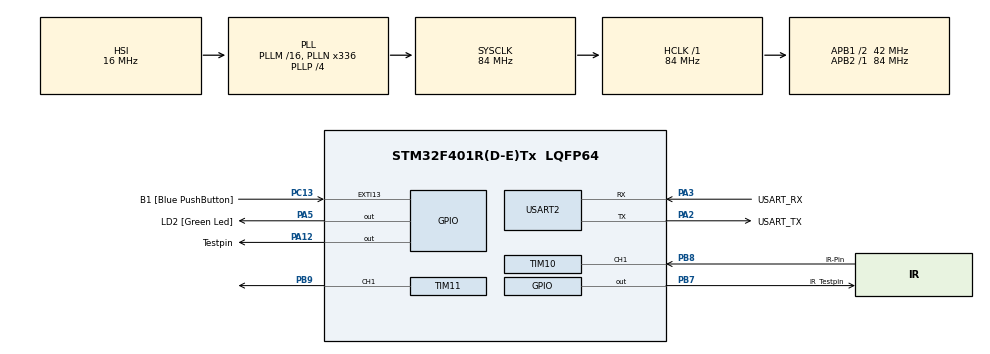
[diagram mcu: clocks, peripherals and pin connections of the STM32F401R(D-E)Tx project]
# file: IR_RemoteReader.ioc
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Mcu.Family=STM32F4
PA2.GPIO_PuPd=GPIO_NOPULL
RCC.CortexFreq_Value=84000000
PA14.GPIO_Label=TCK
PA3.GPIO_PuPd=GPIO_NOPULL
PA2.GPIO_Speed=GPIO_SPEED_FREQ_LOW
PA3.GPIO_Speed=GPIO_SPEED_FREQ_LOW
RCC.SYSCLKSource=RCC_SYSCLKSOURCE_PLLCLK
ProjectManager.StackSize=0x400
VP_TIM1_VS_no_output1.Mode=Output Compare1 No Output
PA12.Signal=GPIO_Output
TIM1.Prescaler=84-1
PH0\ -\ OSC_IN.Signal=RCC_OSC_IN
RCC.HCLKFreq_Value=84000000
RCC.APB2TimFreq_Value=84000000
VP_TIM10_VS_ClockSourceINT.Mode=Enable_Timer
RCC.AHBFreq_Value=84000000
NVIC.EXTI15_10_IRQn=true\:0\:0\:false\:false\:true\:true\:true
TIM10.AutoReloadPreload=TIM_AUTORELOAD_PRELOAD_ENABLE
RCC.HSE_VALUE=8000000
PC13-ANTI_TAMP.Signal=GPXTI13
TIM10.Channel=TIM_CHANNEL_1
PC14-OSC32_IN.Mode=LSE-External-Oscillator
PA14.Mode=Serial_Wire
PA5.GPIO_PuPd=GPIO_NOPULL
PB7.Signal=GPIO_Output
VP_TIM1_VS_ClockSourceINT.Mode=Internal
PB7.GPIO_Label=IR_Testpin
TIM11.ClockDivision=TIM_CLOCKDIVISION_DIV1
PB9.Signal=S_TIM11_CH1
Mcu.Package=LQFP64
TIM1.Pulse-Output\ Compare1\ No\ Output=10000
USART2.VirtualMode=VM_ASYNC
SH.S_TIM10_CH1.0=TIM10_CH1,Input_Capture1_from_TI1
PA2.GPIO_Label=USART_TX
RCC.APB1TimFreq_Value=84000000
SH.S_TIM11_CH1.0=TIM11_CH1,PWM Generation1 CH1
PA3.Signal=USART2_RX
PA2.GPIO_Mode=GPIO_MODE_AF_PP
PB3.GPIO_Label=SWO
TIM10.Prescaler=84-1
PC15-OSC32_OUT.Mode=LSE-External-Oscillator
PC13-ANTI_TAMP.GPIO_PuPd=GPIO_NOPULL
PC13-ANTI_TAMP.GPIO_Label=B1 [Blue PushButton]
TIM1.Channel-Output\ Compare1\ No\ Output=TIM_CHANNEL_1
PH1\ -\ OSC_OUT.Mode=HSE-External-Clock-Source
PB8.GPIO_PuPd=GPIO_NOPULL
TIM11.Prescaler=42-1
RCC.APB1CLKDivider=RCC_HCLK_DIV2
PC14-OSC32_IN.Signal=RCC_OSC32_IN
PA12.GPIO_Label=Testpin
VP_TIM11_VS_ClockSourceINT.Mode=Enable_Timer
PA13.Signal=SYS_JTMS-SWDIO
PA3.Mode=Asynchronous
PB8.GPIO_Label=IR-Pin
PH0\ -\ OSC_IN.Mode=HSE-External-Clock-Source
ProjectManager.TargetToolchain=STM32CubeIDE
PA3.GPIO_Mode=GPIO_MODE_AF_PP
PC15-OSC32_OUT.Signal=RCC_OSC32_OUT
PA5.Signal=GPIO_Output
TIM11.Pulse=21
PH1\ -\ OSC_OUT.Signal=RCC_OSC_OUT
board=NUCLEO-F401RE
RCC.VCOOutputFreq_Value=336000000
TIM11.Period=2*21
TIM10.Period=65536-1
RCC.APB2Freq_Value=84000000
PA13.Mode=Serial_Wire
Mcu.Name=STM32F401R(D-E)Tx
PA13.GPIO_Label=TMS
PA2.Signal=USART2_TX
NVIC.TIM1_CC_IRQn=true\:0\:0\:false\:false\:true\:true\:true
RCC.48MHZClocksFreq_Value=48000000
PB3.Signal=SYS_JTDO-SWO
TIM10.ICPolarity_CH1=TIM_INPUTCHANNELPOLARITY_FALLING
RCC.SYSCLKFreq_VALUE=84000000
PA5.GPIO_Label=LD2 [Green Led]
PC13-ANTI_TAMP.GPIO_ModeDefaultEXTI=GPIO_MODE_IT_FALLING
PA14.Signal=SYS_JTCK-SWCLK
ProjectManager.HeapSize=0x200
NVIC.TIM1_UP_TIM10_IRQn=true\:0\:0\:false\:false\:true\:true\:true
RCC.HSI_VALUE=16000000
TIM11.AutoReloadPreload=TIM_AUTORELOAD_PRELOAD_ENABLE
RCC.PLLP=RCC_PLLP_DIV4
PA5.GPIO_Speed=GPIO_SPEED_FREQ_LOW
RCC.PLLQ=7
NVIC.PriorityGroup=NVIC_PRIORITYGROUP_0
RCC.PLLN=336
TIM11.Channel=TIM_CHANNEL_1
PA2.Mode=Asynchronous
PB8.Signal=S_TIM10_CH1
RCC.APB1Freq_Value=42000000
PA5.GPIO_Mode=GPIO_MODE_OUTPUT_PP
PA3.GPIO_Label=USART_RX

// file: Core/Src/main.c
/* USER CODE BEGIN Header */
/**
  ******************************************************************************
  * @file           : main.c
  * @brief          : Main program body
  ******************************************************************************
  * @attention
  *
  * <h2><center>&copy; Copyright (c) 2021 STMicroelectronics.
  * All rights reserved.</center></h2>
  *
  * This software component is licensed by ST under BSD 3-Clause license,
  * the "License"; You may not use this file except in compliance with the
  * License. You may obtain a copy of the License at:
  *                        opensource.org/licenses/BSD-3-Clause
  *
  ******************************************************************************
  */

/*
 * TODO:
 * - EEPROM-Verwaltung für "echten" Schlüssel, falls dieser auf STM32-Basis entstehen soll
 * - er scheint seinen eigenen Senden-Stream, der für das Auto funktioniert, nicht mehr vernünftig zu empfangen...
 *
 */
/* USER CODE END Header */
#include "main.h"

/* USER CODE BEGIN Includes */
#include <stdio.h>
#include <string.h>

/* USER CODE END Includes */

/* USER CODE BEGIN PD */

#define IR_Test_LOW  HAL_GPIO_WritePin(IR_Testpin_GPIO_Port, IR_Testpin_Pin, GPIO_PIN_RESET)
#define IR_Test_HIGH HAL_GPIO_WritePin(IR_Testpin_GPIO_Port, IR_Testpin_Pin, GPIO_PIN_SET)

/* USER CODE END PD */

TIM_HandleTypeDef htim1;
TIM_HandleTypeDef htim10;
TIM_HandleTypeDef htim11;

UART_HandleTypeDef huart2;

/* USER CODE BEGIN PV */

struct receive_str
{
	ir_dt ir;

	volatile uint32_t currentDelta;
	volatile uint8_t stateMachine_Flag;
}rcv;

struct send_str
{
	ir_dt ir;

	ir_msg_dt msg;
}send;

/* USER CODE END PV */

void SystemClock_Config(void);
static void MX_GPIO_Init(void);
static void MX_USART2_UART_Init(void);
static void MX_TIM10_Init(void);
static void MX_TIM11_Init(void);
static void MX_TIM1_Init(void);

/* USER CODE BEGIN 0 */

int _write(int file, char *data, int len)
{
   /*if ((file != STDOUT_FILENO) && (file != STDERR_FILENO))
   {
      errno = EBADF;
      return -1;
   }*/

   // arbitrary timeout 1000
   HAL_StatusTypeDef status =
      HAL_UART_Transmit(&huart2, (uint8_t*)data, len, 1000);

   // return # of bytes written - as best we can tell
   return (status == HAL_OK ? len : 0);
}

void HAL_GPIO_EXTI_Callback(uint16_t GPIO_Pin) // Für Blauen Button
{
	if(GPIO_Pin == GPIO_PIN_13 && send.ir.state == IR_NONE && rcv.ir.state == IR_NONE)
	{
		memcpy(send.ir.buf, &send.msg, sizeof(ir_msg_dt));

		send.ir.state = IR_START_PULSE;

		HAL_TIM_PWM_Start(send.ir.pwmHtim, TIM_CHANNEL_1);

		// Erster Wert: Start-Pulse als Output compare
		__HAL_TIM_SET_COUNTER(send.ir.htim, 0);
		__HAL_TIM_SET_COMPARE(send.ir.htim, TIM_CHANNEL_1, send.ir.config[send.ir.curCfg].startBit_Pulse);

		incrementMsgCounter(&send.msg); // Count up after each message
	}
}

// Output compare
void HAL_TIM_OC_DelayElapsedCallback(TIM_HandleTypeDef *htim)
{
	if(htim == send.ir.htim)
	{
		// run state machine tast for sending
		ir_send_stateMachine(&send.ir);
		__HAL_TIM_SET_COUNTER(send.ir.htim, 0);
	}
}

void HAL_TIM_PeriodElapsedCallback(TIM_HandleTypeDef *htim) // Für Timeouts
{
	if(htim == &htim10)
	{
		HAL_GPIO_TogglePin(Testpin_GPIO_Port, Testpin_Pin);
		if(rcv.ir.state != IR_NONE)
		{
			printf("Timeout\r\n");
			rcv.ir.state = IR_NONE;
			__HAL_TIM_SET_CAPTUREPOLARITY(htim, TIM_CHANNEL_1, TIM_INPUTCHANNELPOLARITY_FALLING);
		}

	}
}

void HAL_TIM_IC_CaptureCallback(TIM_HandleTypeDef * htim)
{
	IR_Test_LOW;
	if(htim->Channel == HAL_TIM_ACTIVE_CHANNEL_1)
	{
		rcv.currentDelta = HAL_TIM_ReadCapturedValue(htim, TIM_CHANNEL_1);
		__HAL_TIM_SET_COUNTER(htim, 0); // Counter wieder auf 0 setzen

		// Run state machine next time
		rcv.stateMachine_Flag = 1;

	}
	IR_Test_HIGH;
}

void init_Remote(void) // Initialisierung als Fernbedienung für senden und empfangen
{
	/* Receive */
	// Set next flag to falling
	__HAL_TIM_SET_CAPTUREPOLARITY(&htim10, TIM_CHANNEL_1, TIM_INPUTCHANNELPOLARITY_FALLING);

	// Activate input capture interrupt
	HAL_TIM_IC_Start_IT(&htim10, TIM_CHANNEL_1);

	// Initialize statemachine and structure
	IR_Init(&rcv.ir, &htim10, NULL);

	HAL_TIM_Base_Start_IT(&htim10); // Start receive timer

	/* Send */
	// Initialize statemachine and structure
	IR_Init(&send.ir, &htim1, &htim11);

	// Define inital send message
	send.msg.id_0 = 0x1;
	send.msg.id_1 = 0x3;
	send.msg.id_2 = 0xB;
	send.msg.id_3 = 0x0;
	send.msg.id_4 = 0x0;

	send.msg.counter_0 = 0x3;
	send.msg.counter_1 = 0x0;
	send.msg.counter_2 = 0x7;
	send.msg.counter_3 = 0xC;

	// Chose transmission timings
	send.ir.curCfg = IR_LEGACY_Ia;

	HAL_TIM_Base_Start_IT(&htim1);
	HAL_TIM_OC_Start_IT(&htim1, TIM_CHANNEL_1); // TODO: nicht erst beim drücken? Macht aber Probleme..
}

/* USER CODE END 0 */

int main(void)
{

  /* MCU Configuration--------------------------------------------------------*/

  /* Reset of all peripherals, Initializes the Flash interface and the Systick. */
  HAL_Init();

  /* Configure the system clock */
  SystemClock_Config();

  /* Initialize all configured peripherals */
  MX_GPIO_Init();
  MX_USART2_UART_Init();
  MX_TIM10_Init();
  MX_TIM11_Init();
  MX_TIM1_Init();
  /* USER CODE BEGIN 2 */

  init_Remote();

  IR_Test_HIGH;

  printf("IR-Reader v0.3\r\n");

  /* USER CODE END 2 */

  /* Infinite loop */
  /* USER CODE BEGIN WHILE */
  while (1)
  {
	  if(rcv.stateMachine_Flag == 1)
	  {
		  rcv.stateMachine_Flag = 0;

		  ir_receive_stateMachine(&rcv.ir, rcv.currentDelta);
	  }

	  if(rcv.ir.newMsg == 1)
	  {
		  ir_msg_dt msg;
		  uint32_t times[5]; // Debug-Zeiten

		  memcpy(&msg, rcv.ir.buf, sizeof(ir_msg_dt));
		  memcpy(times, rcv.ir.timeGrabber, sizeof(times));

		  rcv.ir.newMsg = 0;

		  printf(" %X%X%X%X%X %X%X%X%X %s\r\n", msg.id_0, msg.id_1, msg.id_2, msg.id_3, msg.id_4,
				  msg.counter_0, msg.counter_1, msg.counter_2, msg.counter_3,
				  rcv.ir.config[rcv.ir.curCfg].name);

		  printf("Zeiten: %lu %lu %lu %lu %lu\r\n", times[0], times[1], times[2], times[3], times[4]);

		  memset(rcv.ir.buf, 0 , 5);

		  rcv.ir.curCfg = IR_CONFIGS_SIZE;
	  }

	  // show error if existing
	  if(rcv.ir.err.no != IR_ERR_NONE)
	  {
		  switch(rcv.ir.err.no)
		  {
		  	  case IR_ERR_START_PULSE:
		  		  printf("Start pulse wrong: ");
		  		  break;
		  	  case IR_ERR_START_PAUSE:
		  		  printf("Start pause wrong: ");
		  		  break;
		  	  case IR_ERR_STROBE:
		  		  printf("Strobe wrong: ");
		  		  break;
		  	  case IR_ERR_PAUSE:
		  		  printf("Bit pause unknown: ");
		  		  break;
		  	  default:
		  		  printf("Undefined error: ");
		  		  break;
		  }
		  printf("%lu\r\n", rcv.ir.err.val);

		  rcv.ir.err.no = IR_ERR_NONE; // reset error flag
	  }

    /* USER CODE END WHILE */

  }
}

void SystemClock_Config(void)
{
  RCC_OscInitTypeDef RCC_OscInitStruct = {0};
  RCC_ClkInitTypeDef RCC_ClkInitStruct = {0};

  /** Configure the main internal regulator output voltage
  */
  __HAL_RCC_PWR_CLK_ENABLE();
  __HAL_PWR_VOLTAGESCALING_CONFIG(PWR_REGULATOR_VOLTAGE_SCALE2);
  /** Initializes the RCC Oscillators according to the specified parameters
  * in the RCC_OscInitTypeDef structure.
  */
  RCC_OscInitStruct.OscillatorType = RCC_OSCILLATORTYPE_HSI;
  RCC_OscInitStruct.HSIState = RCC_HSI_ON;
  RCC_OscInitStruct.HSICalibrationValue = RCC_HSICALIBRATION_DEFAULT;
  RCC_OscInitStruct.PLL.PLLState = RCC_PLL_ON;
  RCC_OscInitStruct.PLL.PLLSource = RCC_PLLSOURCE_HSI;
  RCC_OscInitStruct.PLL.PLLM = 16;
  RCC_OscInitStruct.PLL.PLLN = 336;
  RCC_OscInitStruct.PLL.PLLP = RCC_PLLP_DIV4;
  RCC_OscInitStruct.PLL.PLLQ = 7;
  if (HAL_RCC_OscConfig(&RCC_OscInitStruct) != HAL_OK)
  {
    Error_Handler();
  }
  /** Initializes the CPU, AHB and APB buses clocks
  */
  RCC_ClkInitStruct.ClockType = RCC_CLOCKTYPE_HCLK|RCC_CLOCKTYPE_SYSCLK
                              |RCC_CLOCKTYPE_PCLK1|RCC_CLOCKTYPE_PCLK2;
  RCC_ClkInitStruct.SYSCLKSource = RCC_SYSCLKSOURCE_PLLCLK;
  RCC_ClkInitStruct.AHBCLKDivider = RCC_SYSCLK_DIV1;
  RCC_ClkInitStruct.APB1CLKDivider = RCC_HCLK_DIV2;
  RCC_ClkInitStruct.APB2CLKDivider = RCC_HCLK_DIV1;

  if (HAL_RCC_ClockConfig(&RCC_ClkInitStruct, FLASH_LATENCY_2) != HAL_OK)
  {
    Error_Handler();
  }
}

static void MX_TIM1_Init(void)
{

  TIM_ClockConfigTypeDef sClockSourceConfig = {0};
  TIM_MasterConfigTypeDef sMasterConfig = {0};
  TIM_OC_InitTypeDef sConfigOC = {0};
  TIM_BreakDeadTimeConfigTypeDef sBreakDeadTimeConfig = {0};

  htim1.Instance = TIM1;
  htim1.Init.Prescaler = 84-1;
  htim1.Init.CounterMode = TIM_COUNTERMODE_UP;
  htim1.Init.Period = 65535;
  htim1.Init.ClockDivision = TIM_CLOCKDIVISION_DIV1;
  htim1.Init.RepetitionCounter = 0;
  htim1.Init.AutoReloadPreload = TIM_AUTORELOAD_PRELOAD_DISABLE;
  if (HAL_TIM_Base_Init(&htim1) != HAL_OK)
  {
    Error_Handler();
  }
  sClockSourceConfig.ClockSource = TIM_CLOCKSOURCE_INTERNAL;
  if (HAL_TIM_ConfigClockSource(&htim1, &sClockSourceConfig) != HAL_OK)
  {
    Error_Handler();
  }
  if (HAL_TIM_OC_Init(&htim1) != HAL_OK)
  {
    Error_Handler();
  }
  sMasterConfig.MasterOutputTrigger = TIM_TRGO_RESET;
  sMasterConfig.MasterSlaveMode = TIM_MASTERSLAVEMODE_DISABLE;
  if (HAL_TIMEx_MasterConfigSynchronization(&htim1, &sMasterConfig) != HAL_OK)
  {
    Error_Handler();
  }
  sConfigOC.OCMode = TIM_OCMODE_TIMING;
  sConfigOC.Pulse = 10000;
  sConfigOC.OCPolarity = TIM_OCPOLARITY_HIGH;
  sConfigOC.OCNPolarity = TIM_OCNPOLARITY_HIGH;
  sConfigOC.OCFastMode = TIM_OCFAST_DISABLE;
  sConfigOC.OCIdleState = TIM_OCIDLESTATE_RESET;
  sConfigOC.OCNIdleState = TIM_OCNIDLESTATE_RESET;
  if (HAL_TIM_OC_ConfigChannel(&htim1, &sConfigOC, TIM_CHANNEL_1) != HAL_OK)
  {
    Error_Handler();
  }
  sBreakDeadTimeConfig.OffStateRunMode = TIM_OSSR_DISABLE;
  sBreakDeadTimeConfig.OffStateIDLEMode = TIM_OSSI_DISABLE;
  sBreakDeadTimeConfig.LockLevel = TIM_LOCKLEVEL_OFF;
  sBreakDeadTimeConfig.DeadTime = 0;
  sBreakDeadTimeConfig.BreakState = TIM_BREAK_DISABLE;
  sBreakDeadTimeConfig.BreakPolarity = TIM_BREAKPOLARITY_HIGH;
  sBreakDeadTimeConfig.AutomaticOutput = TIM_AUTOMATICOUTPUT_DISABLE;
  if (HAL_TIMEx_ConfigBreakDeadTime(&htim1, &sBreakDeadTimeConfig) != HAL_OK)
  {
    Error_Handler();
  }

}

static void MX_TIM10_Init(void)
{

  TIM_IC_InitTypeDef sConfigIC = {0};

  htim10.Instance = TIM10;
  htim10.Init.Prescaler = 84-1;
  htim10.Init.CounterMode = TIM_COUNTERMODE_UP;
  htim10.Init.Period = 65536-1;
  htim10.Init.ClockDivision = TIM_CLOCKDIVISION_DIV1;
  htim10.Init.AutoReloadPreload = TIM_AUTORELOAD_PRELOAD_ENABLE;
  if (HAL_TIM_Base_Init(&htim10) != HAL_OK)
  {
    Error_Handler();
  }
  if (HAL_TIM_IC_Init(&htim10) != HAL_OK)
  {
    Error_Handler();
  }
  sConfigIC.ICPolarity = TIM_INPUTCHANNELPOLARITY_FALLING;
  sConfigIC.ICSelection = TIM_ICSELECTION_DIRECTTI;
  sConfigIC.ICPrescaler = TIM_ICPSC_DIV1;
  sConfigIC.ICFilter = 0;
  if (HAL_TIM_IC_ConfigChannel(&htim10, &sConfigIC, TIM_CHANNEL_1) != HAL_OK)
  {
    Error_Handler();
  }

}

static void MX_TIM11_Init(void)
{

  TIM_OC_InitTypeDef sConfigOC = {0};

  htim11.Instance = TIM11;
  htim11.Init.Prescaler = 42-1;
  htim11.Init.CounterMode = TIM_COUNTERMODE_UP;
  htim11.Init.Period = 2*21;
  htim11.Init.ClockDivision = TIM_CLOCKDIVISION_DIV1;
  htim11.Init.AutoReloadPreload = TIM_AUTORELOAD_PRELOAD_ENABLE;
  if (HAL_TIM_Base_Init(&htim11) != HAL_OK)
  {
    Error_Handler();
  }
  if (HAL_TIM_PWM_Init(&htim11) != HAL_OK)
  {
    Error_Handler();
  }
  sConfigOC.OCMode = TIM_OCMODE_PWM1;
  sConfigOC.Pulse = 21;
  sConfigOC.OCPolarity = TIM_OCPOLARITY_HIGH;
  sConfigOC.OCFastMode = TIM_OCFAST_DISABLE;
  if (HAL_TIM_PWM_ConfigChannel(&htim11, &sConfigOC, TIM_CHANNEL_1) != HAL_OK)
  {
    Error_Handler();
  }
  HAL_TIM_MspPostInit(&htim11);

}

static void MX_USART2_UART_Init(void)
{

  huart2.Instance = USART2;
  huart2.Init.BaudRate = 115200;
  huart2.Init.WordLength = UART_WORDLENGTH_8B;
  huart2.Init.StopBits = UART_STOPBITS_1;
  huart2.Init.Parity = UART_PARITY_NONE;
  huart2.Init.Mode = UART_MODE_TX_RX;
  huart2.Init.HwFlowCtl = UART_HWCONTROL_NONE;
  huart2.Init.OverSampling = UART_OVERSAMPLING_16;
  if (HAL_UART_Init(&huart2) != HAL_OK)
  {
    Error_Handler();
  }

}

static void MX_GPIO_Init(void)
{
  GPIO_InitTypeDef GPIO_InitStruct = {0};

  /* GPIO Ports Clock Enable */
  __HAL_RCC_GPIOC_CLK_ENABLE();
  __HAL_RCC_GPIOH_CLK_ENABLE();
  __HAL_RCC_GPIOA_CLK_ENABLE();
  __HAL_RCC_GPIOB_CLK_ENABLE();

  /*Configure GPIO pin Output Level */
  HAL_GPIO_WritePin(GPIOA, LD2_Pin|Testpin_Pin, GPIO_PIN_RESET);

  /*Configure GPIO pin Output Level */
  HAL_GPIO_WritePin(IR_Testpin_GPIO_Port, IR_Testpin_Pin, GPIO_PIN_RESET);

  /*Configure GPIO pin : B1_Pin */
  GPIO_InitStruct.Pin = B1_Pin;
  GPIO_InitStruct.Mode = GPIO_MODE_IT_FALLING;
  GPIO_InitStruct.Pull = GPIO_NOPULL;
  HAL_GPIO_Init(B1_GPIO_Port, &GPIO_InitStruct);

  /*Configure GPIO pins : LD2_Pin Testpin_Pin */
  GPIO_InitStruct.Pin = LD2_Pin|Testpin_Pin;
  GPIO_InitStruct.Mode = GPIO_MODE_OUTPUT_PP;
  GPIO_InitStruct.Pull = GPIO_NOPULL;
  GPIO_InitStruct.Speed = GPIO_SPEED_FREQ_LOW;
  HAL_GPIO_Init(GPIOA, &GPIO_InitStruct);

  /*Configure GPIO pin : IR_Testpin_Pin */
  GPIO_InitStruct.Pin = IR_Testpin_Pin;
  GPIO_InitStruct.Mode = GPIO_MODE_OUTPUT_PP;
  GPIO_InitStruct.Pull = GPIO_NOPULL;
  GPIO_InitStruct.Speed = GPIO_SPEED_FREQ_LOW;
  HAL_GPIO_Init(IR_Testpin_GPIO_Port, &GPIO_InitStruct);

  /* EXTI interrupt init*/
  HAL_NVIC_SetPriority(EXTI15_10_IRQn, 0, 0);
  HAL_NVIC_EnableIRQ(EXTI15_10_IRQn);

}

void Error_Handler(void)
{
  __disable_irq();
  while (1)
  {
  }
}

/************************ (C) COPYRIGHT STMicroelectronics *****END OF FILE****/
